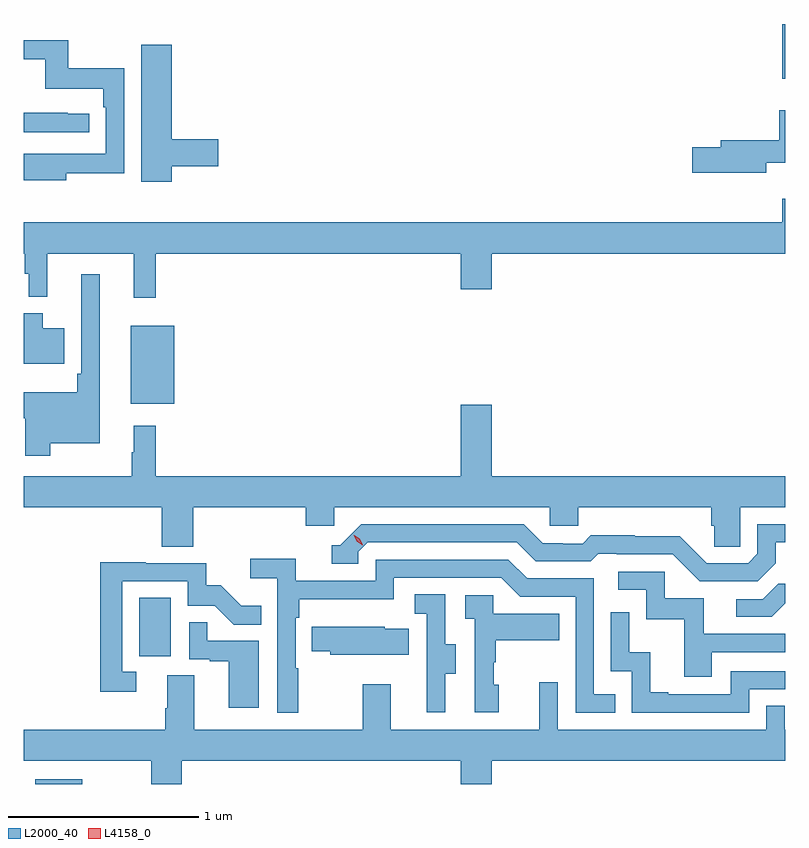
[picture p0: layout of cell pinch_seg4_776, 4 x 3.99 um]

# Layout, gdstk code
import gdstk
lib = gdstk.Library(unit=1e-6, precision=1e-09)
def R(c, l, rs):  # rectangles x0, y0, x1, y1
    for r in rs: c.add(gdstk.rectangle(r[:2], r[2:], *l))
def P(c, l, *ps):  # polygons
    for p in ps: c.add(gdstk.Polygon(p, *l))
L2000_40 = (2000, 40)
L4158_0 = (4158, 0)

pinch_seg4_776 = lib.new_cell('pinch_seg4_776')
R(pinch_seg4_776, L2000_40, [(810.127,814.015,810.373,814.041), (810.674,814.686,810.838,814.993), (810.629,816.011,810.856,816.421), (814.049,817.718,814.066,818.005)])
P(pinch_seg4_776, L2000_40, [(810.289,817.222),(810.594,817.222),(810.594,817.774),(810.301,817.774),(810.301,817.92),(810.066,817.92),(810.066,817.819),(810.18,817.819),(810.18,817.664),(810.485,817.664),(810.485,817.568),(810.498,817.568),(810.498,817.323),(810.185,817.323),(810.185,817.324),(810.066,817.324),(810.066,817.184),(810.289,817.184)],
  [(810.844,817.258),(811.087,817.258),(811.087,817.4),(810.844,817.4),(810.844,817.897),(810.683,817.897),(810.683,817.176),(810.844,817.176)],
  [(813.964,817.277),(814.066,817.277),(814.066,817.552),(814.034,817.552),(814.034,817.394),(813.725,817.394),(813.725,817.358),(813.576,817.358),(813.576,817.223),(813.964,817.223)],
  [(810.412,817.533),(810.299,817.533),(810.299,817.538),(810.066,817.538),(810.066,817.437),(810.412,817.437)],
  [(810.761,816.8),(812.36,816.8),(812.36,816.612),(812.524,816.612),(812.524,816.8),(814.066,816.8),(814.066,817.088),(814.049,817.088),(814.049,816.964),(810.066,816.964),(810.066,816.8),(810.073,816.8),(810.073,816.693),(810.093,816.693),(810.093,816.572),(810.191,816.572),(810.191,816.8),(810.644,816.8),(810.644,816.567),(810.761,816.567)],
  [(810.205,815.804),(810.466,815.804),(810.466,816.691),(810.369,816.691),(810.369,816.169),(810.349,816.169),(810.349,816.073),(810.066,816.073),(810.066,815.934),(810.076,815.934),(810.076,815.739),(810.205,815.739)],
  [(810.28,816.409),(810.166,816.409),(810.166,816.487),(810.066,816.487),(810.066,816.221),(810.28,816.221)],
  [(810.644,815.896),(810.644,815.756),(810.633,815.756),(810.633,815.632),(810.066,815.632),(810.066,815.468),(810.791,815.468),(810.791,815.26),(810.956,815.26),(810.956,815.468),(811.547,815.468),(811.547,815.37),(811.698,815.37),(811.698,815.468),(812.829,815.468),(812.829,815.37),(812.979,815.37),(812.979,815.468),(813.677,815.468),(813.677,815.37),(813.691,815.37),(813.691,815.26),(813.828,815.26),(813.828,815.468),(814.066,815.468),(814.066,815.632),(812.524,815.632),(812.524,816.007),(812.36,816.007),(812.36,815.632),(810.761,815.632),(810.761,815.896)],
  [(814.015,815.173),(814.015,815.283),(814.066,815.283),(814.066,815.379),(813.918,815.379),(813.918,815.223),(813.87,815.175),(813.654,815.175),(813.512,815.317),(813.276,815.317),(813.276,815.32),(813.043,815.32),(813.001,815.277),(812.898,815.277),(812.898,815.28),(812.791,815.28),(812.692,815.379),(811.839,815.379),(811.728,815.268),(811.685,815.268),(811.685,815.172),(811.824,815.172),(811.824,815.235),(811.872,815.283),(812.655,815.283),(812.754,815.184),(813.043,815.184),(813.082,815.223),(813.181,815.223),(813.181,815.22),(813.474,815.22),(813.615,815.079),(813.921,815.079)],
  [(811.507,814.622),(811.494,814.622),(811.494,814.889),(811.514,814.889),(811.514,814.985),(812.01,814.985),(812.01,815.097),(812.574,815.097),(812.673,814.998),(812.964,814.998),(812.964,814.389),(813.173,814.389),(813.173,814.485),(813.06,814.485),(813.06,815.094),(812.71,815.094),(812.611,815.193),(811.914,815.193),(811.914,815.082),(811.496,815.082),(811.496,815.198),(811.257,815.198),(811.257,815.096),(811.398,815.096),(811.398,814.389),(811.507,814.389)],
  [(810.658,814.605),(810.585,814.605),(810.585,815.079),(810.927,815.079),(810.927,814.95),(811.071,814.95),(811.169,814.852),(811.313,814.852),(811.313,814.951),(811.209,814.951),(811.102,815.058),(811.026,815.058),(811.026,815.175),(810.707,815.175),(810.707,815.18),(810.469,815.18),(810.469,814.5),(810.658,814.5)],
  [(813.679,814.707),(814.066,814.707),(814.066,814.803),(813.637,814.803),(813.637,814.989),(813.432,814.989),(813.432,815.13),(813.189,815.13),(813.189,815.034),(813.336,815.034),(813.336,814.881),(813.535,814.881),(813.535,814.578),(813.679,814.578)],
  [(814.066,814.965),(814.066,815.066),(814.028,815.066),(813.948,814.986),(813.807,814.986),(813.807,814.893),(813.994,814.893)],
  [(812.281,814.594),(812.335,814.594),(812.335,814.749),(812.28,814.749),(812.28,815.012),(812.121,815.012),(812.121,814.909),(812.184,814.909),(812.184,814.605),(812.183,814.605),(812.183,814.392),(812.281,814.392)],
  [(812.56,814.536),(812.535,814.536),(812.535,814.655),(812.545,814.655),(812.545,814.769),(812.879,814.769),(812.879,814.909),(812.532,814.909),(812.532,815.007),(812.385,815.007),(812.385,814.883),(812.436,814.883),(812.436,814.392),(812.56,814.392)],
  [(813.876,814.512),(814.066,814.512),(814.066,814.608),(813.78,814.608),(813.78,814.485),(813.451,814.485),(813.451,814.498),(813.356,814.498),(813.356,814.706),(813.246,814.706),(813.246,814.918),(813.15,814.918),(813.15,814.608),(813.258,814.608),(813.258,814.389),(813.876,814.389)],
  [(811.3,814.767),(811.031,814.767),(811.031,814.865),(810.936,814.865),(810.936,814.671),(811.043,814.671),(811.043,814.659),(811.142,814.659),(811.142,814.416),(811.3,814.416)],
  [(812.087,814.831),(811.962,814.831),(811.962,814.84),(811.579,814.84),(811.579,814.711),(811.677,814.711),(811.677,814.694),(812.087,814.694)],
  [(810.896,814.136),(812.36,814.136),(812.36,814.015),(812.524,814.015),(812.524,814.136),(814.066,814.136),(814.066,814.3),(814.062,814.3),(814.062,814.427),(813.966,814.427),(813.966,814.3),(812.871,814.3),(812.871,814.549),(812.774,814.549),(812.774,814.3),(811.993,814.3),(811.993,814.54),(811.846,814.54),(811.846,814.3),(810.961,814.3),(810.961,814.586),(810.821,814.586),(810.821,814.412),(810.809,814.412),(810.809,814.3),(810.066,814.3),(810.066,814.136),(810.736,814.136),(810.736,814.015),(810.896,814.015)])
P(pinch_seg4_776, L4158_0, [(811.848,815.269),(811.817,815.288),(811.8,815.321),(811.8,815.321),(811.801,815.321),(811.832,815.302),(811.848,815.269),(811.848,815.269)])

lib.write_gds('pinch_seg4_776.gds')
